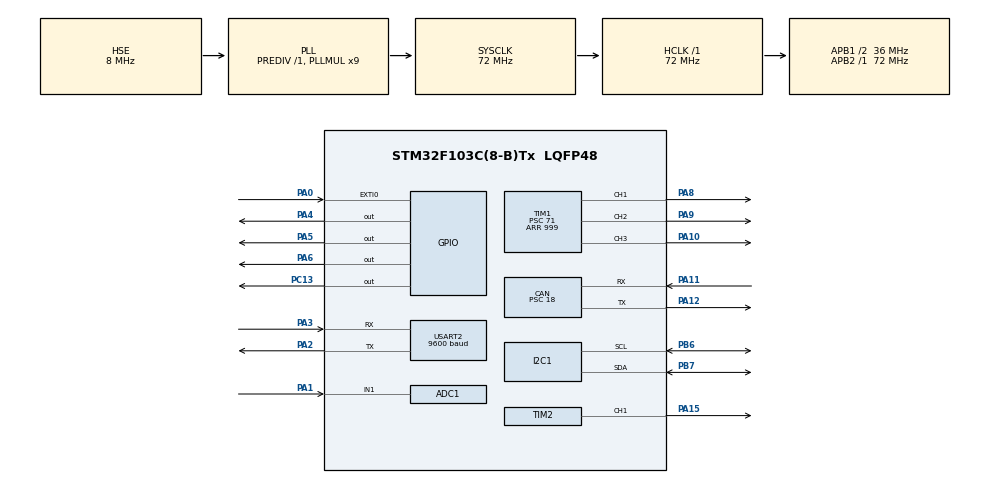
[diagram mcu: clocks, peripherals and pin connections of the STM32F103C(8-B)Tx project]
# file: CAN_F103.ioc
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ADC1.Channel-0\#ChannelRegularConversion=ADC_CHANNEL_1
ADC1.ContinuousConvMode=ENABLE
ADC1.NbrOfConversionFlag=1
ADC1.Rank-0\#ChannelRegularConversion=1
ADC1.SamplingTime-0\#ChannelRegularConversion=ADC_SAMPLETIME_1CYCLE_5
ADC1.master=1
CAN.BS1=CAN_BS1_5TQ
CAN.BS2=CAN_BS2_2TQ
CAN.CalculateBaudRate=250000
CAN.CalculateTimeBit=4000
CAN.CalculateTimeQuantum=500.0
CAN.Prescaler=18
Mcu.Family=STM32F1
Mcu.Name=STM32F103C(8-B)Tx
Mcu.Package=LQFP48
NVIC.EXTI0_IRQn=true\:0\:0\:false\:false\:true\:true\:true\:true
NVIC.PriorityGroup=NVIC_PRIORITYGROUP_0
NVIC.USB_LP_CAN1_RX0_IRQn=true\:0\:1\:false\:false\:true\:true\:true\:true
PA0-WKUP.Signal=GPXTI0
PA1.Signal=ADCx_IN1
PA10.Signal=S_TIM1_CH3
PA11.Mode=CAN_Activate
PA11.Signal=CAN_RX
PA12.Mode=CAN_Activate
PA12.Signal=CAN_TX
PA13.Mode=Serial_Wire
PA13.Signal=SYS_JTMS-SWDIO
PA14.Mode=Serial_Wire
PA14.Signal=SYS_JTCK-SWCLK
PA15.Signal=S_TIM2_CH1_ETR
PA2.Mode=Asynchronous
PA2.Signal=USART2_TX
PA3.Mode=Asynchronous
PA3.Signal=USART2_RX
PA4.Signal=GPIO_Output
PA5.Signal=GPIO_Output
PA6.Signal=GPIO_Output
PA8.Signal=S_TIM1_CH1
PA9.Signal=S_TIM1_CH2
PB6.Mode=I2C
PB6.Signal=I2C1_SCL
PB7.Mode=I2C
PB7.Signal=I2C1_SDA
PC13-TAMPER-RTC.Signal=GPIO_Output
PD0-OSC_IN.Mode=HSE-External-Oscillator
PD0-OSC_IN.Signal=RCC_OSC_IN
PD1-OSC_OUT.Mode=HSE-External-Oscillator
PD1-OSC_OUT.Signal=RCC_OSC_OUT
ProjectManager.HeapSize=0x200
ProjectManager.StackSize=0x400
ProjectManager.TargetToolchain=STM32CubeIDE
RCC.ADCPresc=RCC_ADCPCLK2_DIV6
RCC.AHBFreq_Value=72000000
RCC.APB1CLKDivider=RCC_HCLK_DIV2
RCC.APB1Freq_Value=36000000
RCC.APB1TimFreq_Value=72000000
RCC.APB2Freq_Value=72000000
RCC.APB2TimFreq_Value=72000000
RCC.HCLKFreq_Value=72000000
RCC.PLLMUL=RCC_PLL_MUL9
RCC.PLLSourceVirtual=RCC_PLLSOURCE_HSE
RCC.SYSCLKFreq_VALUE=72000000
RCC.SYSCLKSource=RCC_SYSCLKSOURCE_PLLCLK
RCC.USBFreq_Value=72000000
SH.ADCx_IN1.0=ADC1_IN1,IN1
SH.S_TIM1_CH1.0=TIM1_CH1,PWM Generation1 CH1
SH.S_TIM1_CH2.0=TIM1_CH2,PWM Generation2 CH2
SH.S_TIM1_CH3.0=TIM1_CH3,PWM Generation3 CH3
SH.S_TIM2_CH1_ETR.0=TIM2_CH1,PWM Generation1 CH1
TIM1.Channel-PWM\ Generation1\ CH1=TIM_CHANNEL_1
TIM1.Channel-PWM\ Generation2\ CH2=TIM_CHANNEL_2
TIM1.Channel-PWM\ Generation3\ CH3=TIM_CHANNEL_3
TIM1.Period=999
TIM1.Prescaler=71
TIM2.Channel-PWM\ Generation1\ CH1=TIM_CHANNEL_1
USART2.BaudRate=9600
USART2.VirtualMode=VM_ASYNC
board=custom

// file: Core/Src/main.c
/* USER CODE BEGIN Header */
/**
  ******************************************************************************
  * @file           : main.c
  * @brief          : Main program body
  ******************************************************************************
  * @attention
  *
  * Copyright (c) 2024 STMicroelectronics.
  * All rights reserved.
  *
  * This software is licensed under terms that can be found in the LICENSE file
  * in the root directory of this software component.
  * If no LICENSE file comes with this software, it is provided AS-IS.
  *
  ******************************************************************************
  */
/* USER CODE END Header */
#include "main.h"
#include "canard.h"
#include <stdio.h>
#include <string.h>
CanardInstance canard;  // UAVCAN instance
/* USER CODE BEGIN Includes */
// UAVCAN node ID and message subject ID
uint8_t some_data[8] = {0x01, 0x02, 0x03, 0x04, 0x05, 0x06, 0x07, 0x08};  // 8 byte'lık veri
uint8_t data_length = 8;  // Veri boyutu 8 byte
char tx_buffer[100];  // UART ile gönderilecek mesajlar için yeterli boyutta bir buffer
#define UAVCAN_NODE_ID           10
#define UAVCAN_MESSAGE_SUBJECT_ID 1000
CanardTxQueue tx_queue;  // CAN mesajları için iletim kuyruğu
CanardInstance canard;  // UAVCAN instance

static uint8_t transfer_idd = 0;  // Transfer ID her gönderimde artırılmalı

#define CANARD_MTU_CAN_CLASSIC 8  // Klasik CAN için maksimum mesaj boyutu

uint32_t error;
/* USER CODE END Includes */

ADC_HandleTypeDef hadc1;

CAN_HandleTypeDef hcan;

I2C_HandleTypeDef hi2c1;

TIM_HandleTypeDef htim1;
TIM_HandleTypeDef htim2;

UART_HandleTypeDef huart2;

/* USER CODE BEGIN PV */

CAN_TxHeaderTypeDef pTXHeader;
CAN_TxHeaderTypeDef pTXHeader2;
CAN_TxHeaderTypeDef pTXHeader3;
CAN_TxHeaderTypeDef pTXHeader4;
CAN_TxHeaderTypeDef pTXHeader5;
CAN_TxHeaderTypeDef pTXHeader6;
CAN_TxHeaderTypeDef pTXHeader7;
CAN_TxHeaderTypeDef pTXHeader8;
CAN_TxHeaderTypeDef pTXHeader9;
CAN_TxHeaderTypeDef pTXHeader10;

CAN_TxHeaderTypeDef pTXHeaderBV;
CAN_RxHeaderTypeDef pRXHeader;
CAN_FilterTypeDef sfilterconfig;
uint32_t pTxMailbox;
uint8_t count;
uint16_t rcount,rcount2,rcount3;
uint8_t adc_value[1]={0};
uint8_t deger=0;
int durum;
int durum2;

char uart_buffer[100];  // UART ile mesajları göstermek için buffer

uint16_t adcValue = 0;
uint8_t adcValueHigh = 0;
uint8_t adcValueLow = 0;
uint8_t data[8]; // CAN mesajı veri alanı
uint8_t data2[8];
uint8_t data23[8];
uint8_t led_set=1;
uint8_t led_reset=0;
char rx_buffer[50];
volatile uint8_t message_pending = 0;  // Mesaj geldiğinde set edilecek bayrak
CAN_RxHeaderTypeDef RxHeader;
 uint8_t sayac=0;
 uint8_t rx_data[8];  // Gelen CAN mesajını depolamak için 8 byte'lık bir buffer
 CanardInstance canard;  // UAVCAN instance

 CanardRxTransfer transfer;
/* USER CODE END PV */

void SystemClock_Config(void);
static void MX_GPIO_Init(void);
static void MX_CAN_Init(void);
static void MX_ADC1_Init(void);
static void MX_TIM1_Init(void);
static void MX_USART2_UART_Init(void);
static void MX_I2C1_Init(void);
static void MX_TIM2_Init(void);

/* USER CODE BEGIN 0 */
void Set_PWM_Duty(uint16_t duty) {
    // 0-255 arası gelen duty değerini 0-999 arası bir değere dönüştür
    uint16_t pulse_length = ((uint32_t)duty * 1000) / 4095; //1khz lik ve 12 bit adc olduğu için pwm değerini ayarlıyor
    TIM1->CCR1 = pulse_length; //değer setlendi
}
void Set_PWM_Duty2(uint16_t duty) {
    // 0-255 arası gelen duty değerini 0-999 arası bir değere dönüştür
    uint16_t pulse_length = ((uint32_t)duty * 1000) / 4095; //1khz lik ve 12 bit adc olduğu için pwm değerini ayarlıyor
    TIM1->CCR2 = pulse_length; //değer setlendi
}
void Set_PWM_Duty3(uint16_t duty) {
    // 0-255 arası gelen duty değerini 0-999 arası bir değere dönüştür
    uint16_t pulse_length = ((uint32_t)duty * 1000) / 4095; //1khz lik ve 12 bit adc olduğu için pwm değerini ayarlıyor
    TIM1->CCR3 = pulse_length; //değer setlendi
}

// Bellek tahsisi fonksiyonları
void* canardAllocate(CanardInstance* const ins, const size_t amount)
{
    (void) ins;
    return malloc(amount);  // Standart malloc kullanıyoruz
}

void canardFree(CanardInstance* const ins, void* const pointer)
{
    (void) ins;
    free(pointer);  // Standart free kullanıyoruz
}
/*
// Bu fonksiyon CAN mesajı geldiğinde 4 numaralı LED'i yakar
void receiveCANMessage()
{
    CAN_RxHeaderTypeDef RxHeader;
    uint8_t rx_data[8];  // Gelen CAN mesajını depolamak için 8 byte'lık bir buffer
    char uart_buffer[100];  // UART ile mesajları göstermek için buffer

    // CAN mesajını al
    if (HAL_CAN_GetRxMessage(&hcan, CAN_RX_FIFO0, &RxHeader, rx_data) == HAL_OK)
    {
        // Gelen mesajı UART ile yazdır (isteğe bağlı)
        sprintf(uart_buffer, "Gelen Veri: %02X %02X %02X %02X %02X %02X %02X %02X\n",
                rx_data[0], rx_data[1], rx_data[2], rx_data[3], rx_data[4], rx_data[5], rx_data[6], rx_data[7]);
        HAL_UART_Transmit(&huart2, (uint8_t*)uart_buffer, strlen(uart_buffer), 100);

        // Eğer bir mesaj alındıysa, 4 numaralı LED'i (GPIO_PIN_4) yak
        HAL_GPIO_WritePin(GPIOA, GPIO_PIN_4, GPIO_PIN_SET);  // LED'i yak

        // LED'i belli bir süre açık tutup sonra söndür (örneğin 500 ms)
        HAL_Delay(500);
        HAL_GPIO_WritePin(GPIOA, GPIO_PIN_4, GPIO_PIN_RESET);  // LED'i söndür
    }
    else
    {
        // Eğer mesaj alınamazsa, hata mesajı gönder
        sprintf(uart_buffer, "Mesaj alınamadı!\n");
        HAL_UART_Transmit(&huart2, (uint8_t*)uart_buffer, strlen(uart_buffer), 100);
    }
}
*/
/// CAN mesajı alma ve UART'a yazma fonksiyonu
void receiveMessage(CanardInstance* ins)
{

}

// CAN iletim fonksiyonu
void sendMessage(CanardInstance* ins, uint32_t subject_id, uint8_t* data, uint8_t data_len)
{
     // CanardTransferMetadata yapısı ile mesajın meta verileri tanımlanıyor
    CanardTransferMetadata metadata = {
        .priority       = CanardPriorityNominal,
        .transfer_kind  = CanardTransferKindMessage,
        .port_id        = subject_id,
        .remote_node_id = CANARD_NODE_ID_UNSET,
        .transfer_id    = transfer_idd  // Transfer ID her gönderimden sonra artırılmalı
    };

    // CANARD_MTU_CAN_CLASSIC: 8 byte'lık CAN paketleri için maksimum MTU
    int32_t result = canardTxPush(&tx_queue, ins, HAL_GetTick() * 1000ULL, &metadata, data_len, data);

    // Mesaj gönderimi başarısız olursa
    if (result < 0)
    {
        // Hata durumunu bildiriyoruz
        sprintf(tx_buffer, "Mesaj Gitmedi, hata kodu: %ld\n", result);
        HAL_UART_Transmit(&huart2, (uint8_t*)tx_buffer, strlen(tx_buffer), 100);
    }
    else
    {
        // Başarılı mesaj gönderimi
        sprintf(tx_buffer, "Data Gitti. Transfer ID: %d\n", transfer_idd);
        HAL_UART_Transmit(&huart2, (uint8_t*)tx_buffer, strlen(tx_buffer), 100);
    }

    // Transfer ID'yi artırıyoruz
    transfer_idd++;
}

// CAN iletim kuyruğunu temizleme fonksiyonu
void cleanTxQueue(void)
{
	 const CanardTxQueueItem* item = canardTxPeek(&tx_queue);  // Kuyruktaki ilk mesajı al
	    uint32_t TxMailbox;  // CAN posta kutusu

	    while (item != NULL)
	    {
	        // Posta kutusunda boş yer olup olmadığını kontrol edin
	        if (HAL_CAN_GetTxMailboxesFreeLevel(&hcan) > 0)  // Boş posta kutusu varsa
	        {
	            // CAN iletim fonksiyonunu çağır ve sıradaki mesajı gönder
	            CAN_TxHeaderTypeDef TxHeader;
	            TxHeader.DLC = item->frame.payload_size;  // Data Length Code
	            TxHeader.IDE = CAN_ID_STD;  // Standart ID
	            TxHeader.RTR = CAN_RTR_DATA;  // Veri mesajı
	            TxHeader.StdId = 0x123;  // Standart CAN ID

	            // CAN mesajını iletim için sıraya ekleyin
	            if (HAL_CAN_AddTxMessage(&hcan, &TxHeader, item->frame.payload, &TxMailbox) == HAL_OK)
	            {
	                // Mesaj başarıyla gönderildi, kuyruğun başından çıkar
	                item = canardTxPop(&tx_queue, item);
	            }
	            else
	            {
	                // Mesaj gönderimi başarısız olduysa hata mesajı gönder
	                sprintf(tx_buffer, "Mesaj kuyruğa eklenemedi.\n");
	                HAL_UART_Transmit(&huart2, (uint8_t*)tx_buffer, strlen(tx_buffer), 100);
	                break;
	            }
	        }
	        else
	        {
	            // Eğer boş posta kutusu yoksa, daha fazla mesaj eklemeyin ve döngüden çıkın
	            sprintf(tx_buffer, "Posta kutusu dolu, mesaj gönderilemedi.\n");
	            HAL_UART_Transmit(&huart2, (uint8_t*)tx_buffer, strlen(tx_buffer), 100);
	            break;
	        }

	        // Gönderilen mesajın hala işlenip işlenmediğini kontrol edin
	        if (!HAL_CAN_IsTxMessagePending(&hcan, TxMailbox))
	        {
	            // Mesaj gönderildiyse kuyruktan çıkarın
	            item = canardTxPop(&tx_queue, item);
	        }
	        else
	        {
	            // Mesaj hala bekleniyorsa, döngüyü durdurun
	            break;
	        }
	    }
}
// CAN mesajı gönder
void sendUAVCANMessage()
{
    uint8_t data[4] = {0x01, 0x02, 0x03, 0x04};  // Örnek veri
    uint8_t hello_message[] = "Hello";  // Gönderilecek mesaj
       uint8_t data_len = sizeof(hello_message) - 1;  // Mesaj uzunluğu (null karakter hariç)

    sendMessage(&canard, UAVCAN_MESSAGE_SUBJECT_ID, hello_message, data_len);
}

void USB_LP_CAN1_RX0_IRQHandler(void)
{
/* USER CODE BEGIN USB_LP_CAN1_RX0_IRQn 0 */

/* USER CODE END USB_LP_CAN1_RX0_IRQn 0 */
HAL_CAN_IRQHandler(&hcan);
/* USER CODE BEGIN USB_LP_CAN1_RX0_IRQn 1 */
HAL_GPIO_TogglePin(GPIOA, GPIO_PIN_4);

   uint8_t rx_data[8];  // CAN veri çerçevesi için buffer

   // CAN RX FIFO'dan gelen mesajı alalım
      if (HAL_CAN_GetRxMessage(&hcan, CAN_RX_FIFO0, &RxHeader, rx_data) == HAL_OK)
      {

             sprintf(uart_buffer, "Mesaj alındı %d\n", rx_data);
             HAL_UART_Transmit(&huart2, (uint8_t*)uart_buffer, strlen(uart_buffer), 100);
    }
      else   if (RxHeader.DLC == 5 && memcmp(rx_data, "Hello", 5) == 0)
      {
          // Eğer mesaj "Hello" ise, UART'a yazdır
          sprintf(uart_buffer, "Alınan mesaj: Hello\n");
          HAL_UART_Transmit(&huart2, (uint8_t*)uart_buffer, strlen(uart_buffer), 100);
      }
      else
      {
      	  sprintf(uart_buffer, "Mesaj alınamadı, hata kodu: %d\n", 0);
      	              HAL_UART_Transmit(&huart2, (uint8_t*)uart_buffer, strlen(uart_buffer), 100);
      }

/* USER CODE END USB_LP_CAN1_RX0_IRQn 1 */
}

/* USER CODE END 0 */

int main(void)
{

  /* MCU Configuration--------------------------------------------------------*/

  /* Reset of all peripherals, Initializes the Flash interface and the Systick. */
  HAL_Init();

  /* Configure the system clock */
  SystemClock_Config();

  /* Initialize all configured peripherals */
  MX_GPIO_Init();
  MX_CAN_Init();
  MX_ADC1_Init();
  MX_TIM1_Init();
  MX_USART2_UART_Init();
  MX_I2C1_Init();
  MX_TIM2_Init();
  /* USER CODE BEGIN 2 */

	HAL_GPIO_WritePin(GPIOC, GPIO_PIN_13, 0);

  //Can baslatildi
  HAL_CAN_Start(&hcan);
  //interrupt için aktif edilme
 // HAL_CAN_ActivateNotification(&hcan, CAN_IT_RX_FIFO0_MSG_PENDING); //mesaj geldi mesaj bekleniyor

  pTXHeader.DLC=1;  //1byte lık değer geldiğini ifade eder
  pTXHeader.IDE=CAN_ID_STD; //standart ID kullanılıcağı belirtir
  pTXHeader.RTR=CAN_RTR_DATA; //data gönderilmesini transmit yapıldığını belirtir
  pTXHeader.StdId=0x0156; //mesage ID numarasıdır

  sfilterconfig.FilterActivation=ENABLE;
  sfilterconfig.FilterBank=0;
  sfilterconfig.FilterFIFOAssignment=CAN_FILTER_FIFO0;
  sfilterconfig.FilterIdHigh=0x0000;
  sfilterconfig.FilterIdLow=0x0000;
  sfilterconfig.FilterMaskIdHigh=0x0000;
  sfilterconfig.FilterMaskIdLow=0x0000;
  sfilterconfig.FilterMode=CAN_FILTERMODE_IDMASK;
  sfilterconfig.FilterScale=CAN_FILTERSCALE_32BIT;

  HAL_CAN_ConfigFilter(&hcan, &sfilterconfig);

//  HAL_TIM_PWM_Start(&htim1, TIM_CHANNEL_1);
  //HAL_TIM_PWM_Start(&htim1, TIM_CHANNEL_2);
  //HAL_TIM_PWM_Start(&htim1, TIM_CHANNEL_3);

  // UAVCAN başlatma
     canard = canardInit(canardAllocate, canardFree);
     // Node ID'yi doğrudan ayarlayın
     canard.node_id = UAVCAN_NODE_ID;

     // CAN kuyruğunu başlat
     tx_queue = canardTxInit(100, CANARD_MTU_CAN_CLASSIC);  // Kuyruk kapasitesi: 8, MTU: 8 byte

     // Abonelik (UAVCAN mesajlarını almayı kabul etme)
     canardRxSubscribe(&canard, CanardTransferKindMessage, UAVCAN_MESSAGE_SUBJECT_ID, 8, 1000, NULL);

     // CAN RX mesajı bekleme fonksiyonunu aktif et
     if (HAL_CAN_ActivateNotification(&hcan, CAN_IT_RX_FIFO0_MSG_PENDING) != HAL_OK)
     {
         // Hata oluşursa hata işlemi
         sprintf(uart_buffer, "CAN Bildirimleri Aktive Edilemedi! Hata kodu: %ld\n", HAL_CAN_GetError(&hcan));
         HAL_UART_Transmit(&huart2, (uint8_t*)uart_buffer, strlen(uart_buffer), 100);
         Error_Handler();
     }

     sprintf(uart_buffer, "CAN Bildirimleri Aktif.\n");
     HAL_UART_Transmit(&huart2, (uint8_t*)uart_buffer, strlen(uart_buffer), 100);
  /* USER CODE END 2 */

  /* Infinite loop */
  while (1)
  {

    /* USER CODE BEGIN 3 */

	 // sprintf(uart_buffer, "Mesaj alındı %d\n", rx_data);
	  //            HAL_UART_Transmit(&huart2, (uint8_t*)uart_buffer, strlen(uart_buffer), 100);

	 sendUAVCANMessage();  // Her 1 saniyede bir mesaj gönder
	 	  		    cleanTxQueue();

	 	  		// receiveUAVCANMessage();
	 	  		    HAL_Delay(1000);  // 100ms bekleyin

	  	  ////////////////////////////uart_end///////////////////////////////////////////////////

     Set_PWM_Duty(rcount); //pwm fonksiyonuna bu değeri gönderiyor
     Set_PWM_Duty2(rcount2);
     Set_PWM_Duty3(rcount3);

  }
  /* USER CODE END 3 */
}

void SystemClock_Config(void)
{
  RCC_OscInitTypeDef RCC_OscInitStruct = {0};
  RCC_ClkInitTypeDef RCC_ClkInitStruct = {0};
  RCC_PeriphCLKInitTypeDef PeriphClkInit = {0};

  /** Initializes the RCC Oscillators according to the specified parameters
  * in the RCC_OscInitTypeDef structure.
  */
  RCC_OscInitStruct.OscillatorType = RCC_OSCILLATORTYPE_HSE;
  RCC_OscInitStruct.HSEState = RCC_HSE_ON;
  RCC_OscInitStruct.HSEPredivValue = RCC_HSE_PREDIV_DIV1;
  RCC_OscInitStruct.HSIState = RCC_HSI_ON;
  RCC_OscInitStruct.PLL.PLLState = RCC_PLL_ON;
  RCC_OscInitStruct.PLL.PLLSource = RCC_PLLSOURCE_HSE;
  RCC_OscInitStruct.PLL.PLLMUL = RCC_PLL_MUL9;
  if (HAL_RCC_OscConfig(&RCC_OscInitStruct) != HAL_OK)
  {
    Error_Handler();
  }

  /** Initializes the CPU, AHB and APB buses clocks
  */
  RCC_ClkInitStruct.ClockType = RCC_CLOCKTYPE_HCLK|RCC_CLOCKTYPE_SYSCLK
                              |RCC_CLOCKTYPE_PCLK1|RCC_CLOCKTYPE_PCLK2;
  RCC_ClkInitStruct.SYSCLKSource = RCC_SYSCLKSOURCE_PLLCLK;
  RCC_ClkInitStruct.AHBCLKDivider = RCC_SYSCLK_DIV1;
  RCC_ClkInitStruct.APB1CLKDivider = RCC_HCLK_DIV2;
  RCC_ClkInitStruct.APB2CLKDivider = RCC_HCLK_DIV1;

  if (HAL_RCC_ClockConfig(&RCC_ClkInitStruct, FLASH_LATENCY_2) != HAL_OK)
  {
    Error_Handler();
  }
  PeriphClkInit.PeriphClockSelection = RCC_PERIPHCLK_ADC;
  PeriphClkInit.AdcClockSelection = RCC_ADCPCLK2_DIV6;
  if (HAL_RCCEx_PeriphCLKConfig(&PeriphClkInit) != HAL_OK)
  {
    Error_Handler();
  }
}

static void MX_ADC1_Init(void)
{

  ADC_ChannelConfTypeDef sConfig = {0};

  /** Common config
  */
  hadc1.Instance = ADC1;
  hadc1.Init.ScanConvMode = ADC_SCAN_DISABLE;
  hadc1.Init.ContinuousConvMode = ENABLE;
  hadc1.Init.DiscontinuousConvMode = DISABLE;
  hadc1.Init.ExternalTrigConv = ADC_SOFTWARE_START;
  hadc1.Init.DataAlign = ADC_DATAALIGN_RIGHT;
  hadc1.Init.NbrOfConversion = 1;
  if (HAL_ADC_Init(&hadc1) != HAL_OK)
  {
    Error_Handler();
  }

  /** Configure Regular Channel
  */
  sConfig.Channel = ADC_CHANNEL_1;
  sConfig.Rank = ADC_REGULAR_RANK_1;
  sConfig.SamplingTime = ADC_SAMPLETIME_1CYCLE_5;
  if (HAL_ADC_ConfigChannel(&hadc1, &sConfig) != HAL_OK)
  {
    Error_Handler();
  }

}

static void MX_CAN_Init(void)
{

	/*
  hcan.Instance = CAN1;
  hcan.Init.Prescaler = 18;
  hcan.Init.Mode = CAN_MODE_NORMAL;
  hcan.Init.SyncJumpWidth = CAN_SJW_1TQ;
  hcan.Init.TimeSeg1 = CAN_BS1_5TQ;
  hcan.Init.TimeSeg2 = CAN_BS2_2TQ;
  hcan.Init.TimeTriggeredMode = DISABLE;
  hcan.Init.AutoBusOff = DISABLE;
  hcan.Init.AutoWakeUp = DISABLE;
  hcan.Init.AutoRetransmission = DISABLE;
  hcan.Init.ReceiveFifoLocked = DISABLE;
  hcan.Init.TransmitFifoPriority = DISABLE;
  */
  hcan.Instance = CAN1;
  hcan.Init.Prescaler = 9;  // Prescaler, clock frekansını 1/9 oranında böler
  hcan.Init.Mode = CAN_MODE_NORMAL;
  hcan.Init.SyncJumpWidth = CAN_SJW_1TQ;  // Sync Jump Width: 1 Time Quantum
  hcan.Init.TimeSeg1 = CAN_BS1_12TQ;      // Time Segment 1: 12 Time Quantum
  hcan.Init.TimeSeg2 = CAN_BS2_4TQ;       // Time Segment 2: 4 Time Quantum
  hcan.Init.TimeTriggeredMode = DISABLE;
  hcan.Init.AutoBusOff = DISABLE;
  hcan.Init.AutoWakeUp = DISABLE;
  hcan.Init.AutoRetransmission = ENABLE;
  hcan.Init.ReceiveFifoLocked = DISABLE;
  hcan.Init.TransmitFifoPriority = DISABLE;

  if (HAL_CAN_Init(&hcan) != HAL_OK)
  {
    Error_Handler();
  }

}

static void MX_I2C1_Init(void)
{

  hi2c1.Instance = I2C1;
  hi2c1.Init.ClockSpeed = 100000;
  hi2c1.Init.DutyCycle = I2C_DUTYCYCLE_2;
  hi2c1.Init.OwnAddress1 = 0;
  hi2c1.Init.AddressingMode = I2C_ADDRESSINGMODE_7BIT;
  hi2c1.Init.DualAddressMode = I2C_DUALADDRESS_DISABLE;
  hi2c1.Init.OwnAddress2 = 0;
  hi2c1.Init.GeneralCallMode = I2C_GENERALCALL_DISABLE;
  hi2c1.Init.NoStretchMode = I2C_NOSTRETCH_DISABLE;
  if (HAL_I2C_Init(&hi2c1) != HAL_OK)
  {
    Error_Handler();
  }

}

static void MX_TIM1_Init(void)
{

  TIM_MasterConfigTypeDef sMasterConfig = {0};
  TIM_OC_InitTypeDef sConfigOC = {0};
  TIM_BreakDeadTimeConfigTypeDef sBreakDeadTimeConfig = {0};

  htim1.Instance = TIM1;
  htim1.Init.Prescaler = 71;
  htim1.Init.CounterMode = TIM_COUNTERMODE_UP;
  htim1.Init.Period = 999;
  htim1.Init.ClockDivision = TIM_CLOCKDIVISION_DIV1;
  htim1.Init.RepetitionCounter = 0;
  htim1.Init.AutoReloadPreload = TIM_AUTORELOAD_PRELOAD_DISABLE;
  if (HAL_TIM_PWM_Init(&htim1) != HAL_OK)
  {
    Error_Handler();
  }
  sMasterConfig.MasterOutputTrigger = TIM_TRGO_RESET;
  sMasterConfig.MasterSlaveMode = TIM_MASTERSLAVEMODE_DISABLE;
  if (HAL_TIMEx_MasterConfigSynchronization(&htim1, &sMasterConfig) != HAL_OK)
  {
    Error_Handler();
  }
  sConfigOC.OCMode = TIM_OCMODE_PWM1;
  sConfigOC.Pulse = 0;
  sConfigOC.OCPolarity = TIM_OCPOLARITY_HIGH;
  sConfigOC.OCNPolarity = TIM_OCNPOLARITY_HIGH;
  sConfigOC.OCFastMode = TIM_OCFAST_DISABLE;
  sConfigOC.OCIdleState = TIM_OCIDLESTATE_RESET;
  sConfigOC.OCNIdleState = TIM_OCNIDLESTATE_RESET;
  if (HAL_TIM_PWM_ConfigChannel(&htim1, &sConfigOC, TIM_CHANNEL_1) != HAL_OK)
  {
    Error_Handler();
  }
  if (HAL_TIM_PWM_ConfigChannel(&htim1, &sConfigOC, TIM_CHANNEL_2) != HAL_OK)
  {
    Error_Handler();
  }
  if (HAL_TIM_PWM_ConfigChannel(&htim1, &sConfigOC, TIM_CHANNEL_3) != HAL_OK)
  {
    Error_Handler();
  }
  sBreakDeadTimeConfig.OffStateRunMode = TIM_OSSR_DISABLE;
  sBreakDeadTimeConfig.OffStateIDLEMode = TIM_OSSI_DISABLE;
  sBreakDeadTimeConfig.LockLevel = TIM_LOCKLEVEL_OFF;
  sBreakDeadTimeConfig.DeadTime = 0;
  sBreakDeadTimeConfig.BreakState = TIM_BREAK_DISABLE;
  sBreakDeadTimeConfig.BreakPolarity = TIM_BREAKPOLARITY_HIGH;
  sBreakDeadTimeConfig.AutomaticOutput = TIM_AUTOMATICOUTPUT_DISABLE;
  if (HAL_TIMEx_ConfigBreakDeadTime(&htim1, &sBreakDeadTimeConfig) != HAL_OK)
  {
    Error_Handler();
  }
  HAL_TIM_MspPostInit(&htim1);

}

static void MX_TIM2_Init(void)
{

  TIM_MasterConfigTypeDef sMasterConfig = {0};
  TIM_OC_InitTypeDef sConfigOC = {0};

  htim2.Instance = TIM2;
  htim2.Init.Prescaler = 0;
  htim2.Init.CounterMode = TIM_COUNTERMODE_UP;
  htim2.Init.Period = 65535;
  htim2.Init.ClockDivision = TIM_CLOCKDIVISION_DIV1;
  htim2.Init.AutoReloadPreload = TIM_AUTORELOAD_PRELOAD_DISABLE;
  if (HAL_TIM_PWM_Init(&htim2) != HAL_OK)
  {
    Error_Handler();
  }
  sMasterConfig.MasterOutputTrigger = TIM_TRGO_RESET;
  sMasterConfig.MasterSlaveMode = TIM_MASTERSLAVEMODE_DISABLE;
  if (HAL_TIMEx_MasterConfigSynchronization(&htim2, &sMasterConfig) != HAL_OK)
  {
    Error_Handler();
  }
  sConfigOC.OCMode = TIM_OCMODE_PWM1;
  sConfigOC.Pulse = 0;
  sConfigOC.OCPolarity = TIM_OCPOLARITY_HIGH;
  sConfigOC.OCFastMode = TIM_OCFAST_DISABLE;
  if (HAL_TIM_PWM_ConfigChannel(&htim2, &sConfigOC, TIM_CHANNEL_1) != HAL_OK)
  {
    Error_Handler();
  }
  HAL_TIM_MspPostInit(&htim2);

}

static void MX_USART2_UART_Init(void)
{

  huart2.Instance = USART2;
  huart2.Init.BaudRate = 9600;
  huart2.Init.WordLength = UART_WORDLENGTH_8B;
  huart2.Init.StopBits = UART_STOPBITS_1;
  huart2.Init.Parity = UART_PARITY_NONE;
  huart2.Init.Mode = UART_MODE_TX_RX;
  huart2.Init.HwFlowCtl = UART_HWCONTROL_NONE;
  huart2.Init.OverSampling = UART_OVERSAMPLING_16;
  if (HAL_UART_Init(&huart2) != HAL_OK)
  {
    Error_Handler();
  }

}

static void MX_GPIO_Init(void)
{
  GPIO_InitTypeDef GPIO_InitStruct = {0};

  /* GPIO Ports Clock Enable */
  __HAL_RCC_GPIOC_CLK_ENABLE();
  __HAL_RCC_GPIOD_CLK_ENABLE();
  __HAL_RCC_GPIOA_CLK_ENABLE();
  __HAL_RCC_GPIOB_CLK_ENABLE();

  /*Configure GPIO pin Output Level */
  HAL_GPIO_WritePin(GPIOC, GPIO_PIN_13, GPIO_PIN_RESET);

  /*Configure GPIO pin Output Level */
  HAL_GPIO_WritePin(GPIOA, GPIO_PIN_4|GPIO_PIN_5|GPIO_PIN_6, GPIO_PIN_RESET);

  /*Configure GPIO pin : PC13 */
  GPIO_InitStruct.Pin = GPIO_PIN_13;
  GPIO_InitStruct.Mode = GPIO_MODE_OUTPUT_PP;
  GPIO_InitStruct.Pull = GPIO_NOPULL;
  GPIO_InitStruct.Speed = GPIO_SPEED_FREQ_LOW;
  HAL_GPIO_Init(GPIOC, &GPIO_InitStruct);

  /*Configure GPIO pin : PA0 */
  GPIO_InitStruct.Pin = GPIO_PIN_0;
  GPIO_InitStruct.Mode = GPIO_MODE_IT_RISING;
  GPIO_InitStruct.Pull = GPIO_NOPULL;
  HAL_GPIO_Init(GPIOA, &GPIO_InitStruct);

  /*Configure GPIO pins : PA4 PA5 PA6 */
  GPIO_InitStruct.Pin = GPIO_PIN_4|GPIO_PIN_5|GPIO_PIN_6;
  GPIO_InitStruct.Mode = GPIO_MODE_OUTPUT_PP;
  GPIO_InitStruct.Pull = GPIO_NOPULL;
  GPIO_InitStruct.Speed = GPIO_SPEED_FREQ_LOW;
  HAL_GPIO_Init(GPIOA, &GPIO_InitStruct);

  /* EXTI interrupt init*/
  HAL_NVIC_SetPriority(EXTI0_IRQn, 0, 0);
  HAL_NVIC_EnableIRQ(EXTI0_IRQn);

}

void Error_Handler(void)
{
  __disable_irq();
  while (1)
  {
  }
}
